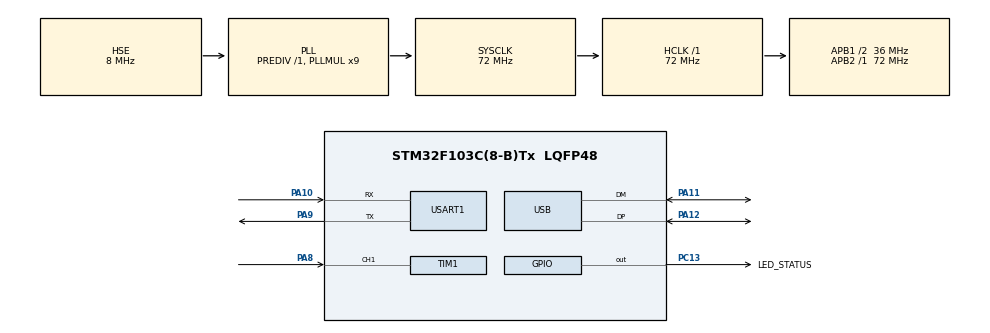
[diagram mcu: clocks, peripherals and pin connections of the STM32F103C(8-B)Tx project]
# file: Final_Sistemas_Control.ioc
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Mcu.Family=STM32F1
Mcu.Name=STM32F103C(8-B)Tx
Mcu.Package=LQFP48
NVIC.PriorityGroup=NVIC_PRIORITYGROUP_4
NVIC.TIM1_CC_IRQn=true\:0\:0\:false\:false\:true\:true\:true\:true
NVIC.USART1_IRQn=true\:0\:0\:false\:false\:true\:true\:true\:true
NVIC.USB_LP_CAN1_RX0_IRQn=true\:0\:0\:false\:false\:true\:true\:true\:true
PA10.Mode=Asynchronous
PA10.Signal=USART1_RX
PA11.Mode=Device
PA11.Signal=USB_DM
PA12.Mode=Device
PA12.Signal=USB_DP
PA13.Mode=Serial_Wire
PA13.Signal=SYS_JTMS-SWDIO
PA14.Mode=Serial_Wire
PA14.Signal=SYS_JTCK-SWCLK
PA8.Signal=S_TIM1_CH1
PA9.Mode=Asynchronous
PA9.Signal=USART1_TX
PC13-TAMPER-RTC.GPIO_Label=LED_STATUS
PC13-TAMPER-RTC.PinState=GPIO_PIN_SET
PC13-TAMPER-RTC.Signal=GPIO_Output
PC14-OSC32_IN.Mode=LSE-External-Oscillator
PC14-OSC32_IN.Signal=RCC_OSC32_IN
PC15-OSC32_OUT.Mode=LSE-External-Oscillator
PC15-OSC32_OUT.Signal=RCC_OSC32_OUT
PD0-OSC_IN.Mode=HSE-External-Oscillator
PD0-OSC_IN.Signal=RCC_OSC_IN
PD1-OSC_OUT.Mode=HSE-External-Oscillator
PD1-OSC_OUT.Signal=RCC_OSC_OUT
ProjectManager.HeapSize=0x200
ProjectManager.StackSize=0x400
ProjectManager.TargetToolchain=STM32CubeIDE
RCC.AHBFreq_Value=72000000
RCC.APB1CLKDivider=RCC_HCLK_DIV2
RCC.APB1Freq_Value=36000000
RCC.APB1TimFreq_Value=72000000
RCC.APB2Freq_Value=72000000
RCC.APB2TimFreq_Value=72000000
RCC.HCLKFreq_Value=72000000
RCC.PLLMUL=RCC_PLL_MUL9
RCC.PLLSourceVirtual=RCC_PLLSOURCE_HSE
RCC.SYSCLKFreq_VALUE=72000000
RCC.SYSCLKSource=RCC_SYSCLKSOURCE_PLLCLK
RCC.USBFreq_Value=48000000
RCC.USBPrescaler=RCC_USBCLKSOURCE_PLL_DIV1_5
SH.S_TIM1_CH1.0=TIM1_CH1,Input_Capture1_from_TI1
TIM1.Channel-Input_Capture1_from_TI1=TIM_CHANNEL_1
TIM1.Period=3
TIM1.Prescaler=8
USART1.VirtualMode=VM_ASYNC
VP_TIM1_VS_ClockSourceINT.Mode=Internal
board=custom

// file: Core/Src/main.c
/* USER CODE BEGIN Header */
/**
  ******************************************************************************
  * @file           : main.c
  * @brief          : Final_Sistemas_Control
  * @brief          : Main program body
  ******************************************************************************
  * @attention
  *
  * Copyright (c) 2024 STMicroelectronics.
  * All rights reserved.
  *
  * This software is licensed under terms that can be found in the LICENSE file
  * in the root directory of this software component.
  * If no LICENSE file comes with this software, it is provided AS-IS.
  *
  ******************************************************************************
  */
/* USER CODE END Header */
#include "main.h"

/* USER CODE BEGIN PTD */
typedef enum{
    START,
    HEADER_1,
    HEADER_2,
    HEADER_3,
    NBYTES,
    TOKEN,
    PAYLOAD
}_eProtocolo;

_eProtocolo estadoProtocolo;

typedef enum{
       ACK=0x0D,
       ALIVE=0xF0,
//       IR_SENSOR=0xA0,
       OTHERS
   }_eID;

typedef struct{
    uint8_t timeOut;         //!< TiemOut para reiniciar la máquina si se interrumpe la comunicación
    uint8_t indexStart; 	 ///////////////////// AGREGAR ///////////////////////////////////
    uint8_t cheksumRx;       //!< Cheksumm RX
    uint8_t cheksumtx;       //!< Cheksumm Tx
    uint8_t indexWriteRx;    //!< Indice de escritura del buffer circular de recepción
    uint8_t indexReadRx;     //!< Indice de lectura del buffer circular de recepción
    uint8_t indexWriteTx;    //!< Indice de escritura del buffer circular de transmisión
    uint8_t indexReadTx;     //!< Indice de lectura del buffer circular de transmisión
    uint8_t bufferRx[256];   //!< Buffer circular de recepción
    uint8_t bufferTx[256];   //!< Buffer circular de transmisión
    // uint8_t payload[32];     //!< Buffer para el Payload de datos recibidos
}_sDato ;

_sDato datosComProtocol;

typedef union {
    int32_t i32;
    uint32_t ui32;
    uint16_t ui16[2];
    uint8_t ui8[4];
}_udat;

_udat myWord;
_udat prueba;
/* USER CODE END PTD */

TIM_HandleTypeDef htim1;

UART_HandleTypeDef huart1;

PCD_HandleTypeDef hpcd_USB_FS;

void SystemClock_Config(void);
static void MX_GPIO_Init(void);
static void MX_TIM1_Init(void);
static void MX_USART1_UART_Init(void);
static void MX_USB_PCD_Init(void);
/* USER CODE BEGIN PFP */
void onDataRx(void);
void decodeProtocol(_sDato *);
void decodeData(_sDato *);
void encodeData(uint8_t id);
void sendData(void);

void USBReceive(uint8_t *but, uint16_t len);
/* USER CODE END PFP */

/* USER CODE BEGIN 0 */
void USBReceive(uint8_t *buf, uint16_t len){
	for (int i = 0; i < len; ++i) {
		datosComProtocol.bufferRx[datosComProtocol.indexWriteRx] = buf[i];
	}
}

void HAL_TIM_IC_CaptureCallback(TIM_HandleTypeDef *htim1){
		if(htim1->Instance == TIM1){
			uint32_t captured_value = HAL_TIM_ReadCapturedValue(htim1, TIM_CHANNEL_1);
			__HAL_TIM_GET_COUNTER(htim1); //Devuelve un valor de 16-bit or 32-bit
		}
}

/*'<' header
//byte1
//byte2
//byte3
//byte4
//checksum = suma de todos los bytes transmitidos
//'>' tail

//  4      1      1    1    N     1
//HEADER NBYTES TOKEN ID PAYLOAD CKS

//HEADER 4 bytes
//'U' 'N' 'E' 'R'

//NBYTES = ID+PAYLOAD+CKS = 2 + nbytes de payload

//TOKEN: ':'

//CKS: xor de todos los bytes enviados menos el CKS
*/
void decodeProtocol(_sDato *datosCom){
	static uint8_t nBytes = 0;
	while (datosCom->indexReadRx != datosCom->indexWriteRx){
		switch (estadoProtocolo){
		case START:
			if (datosCom->bufferRx[datosCom->indexReadRx++]=='U') {
				estadoProtocolo = HEADER_1;
				datosCom->cheksumRx = 0;
			}
			break;
		case HEADER_1:
			if (datosCom->bufferRx[datosCom->indexReadRx++]=='N')
			   {
				   estadoProtocolo=HEADER_2;
			   }
			else{
				datosCom->indexReadRx--;
				estadoProtocolo=START;
			}
			break;
		case HEADER_2:
			if (datosCom->bufferRx[datosCom->indexReadRx++]=='E')
			{
				estadoProtocolo=HEADER_3;
			}
			else{
				datosCom->indexReadRx--;
			   estadoProtocolo=START;
			}
			break;
		case HEADER_3:
			if (datosCom->bufferRx[datosCom->indexReadRx++]=='R')
				{
					estadoProtocolo=NBYTES;
				}
			else{
				datosCom->indexReadRx--;
			   estadoProtocolo=START;
			}
			break;
		case NBYTES:
			datosCom->indexStart=datosCom->indexReadRx;
			nBytes=datosCom->bufferRx[datosCom->indexReadRx++];
			estadoProtocolo=TOKEN;
			break;
		case TOKEN:
			if (datosCom->bufferRx[datosCom->indexReadRx++]==':'){
			   estadoProtocolo=PAYLOAD;
				datosCom->cheksumRx ='U'^'N'^'E'^'R'^ nBytes^':';
				// datosCom->payload[0]=nBytes;
				// indice=1;
			}
			else{
				datosCom->indexReadRx--;
				estadoProtocolo=START;
			}
			break;
		case PAYLOAD:
			if (nBytes>1){
				// datosCom->payload[indice++]=datosCom->bufferRx[datosCom->indexReadRx];
				datosCom->cheksumRx ^= datosCom->bufferRx[datosCom->indexReadRx++];
			}
			nBytes--;
			if(nBytes<=0){
				estadoProtocolo=START;
				if(datosCom->cheksumRx == datosCom->bufferRx[datosCom->indexReadRx]){
					decodeData(datosCom);
				}
			}
			break;
		default:
			estadoProtocolo=START;
			break;
		}
	}
}

void decodeData(_sDato *datosCom){
	#define POSID   2
    #define POSDATA 3

	switch (datosCom->bufferRx[(datosCom->indexStart+POSID)]) {
		case ALIVE:
			encodeData(ALIVE);
			break;
//		case MOTOR_ACTION:
//			datosCom->indexStart++;
//			myWord.ui8[0] = datosCom->bufferRx[datosCom->indexStart++];
//			myWord.ui8[1] = datosCom->bufferRx[datosCom->indexStart++];
//			motor.canal1 = (uint16_t)myWord.ui32;
//
//			myWord.ui8[0] = datosCom->bufferRx[datosCom->indexStart++];
//			myWord.ui8[1] = datosCom->bufferRx[datosCom->indexStart++];
//			motor.canal2 = (uint16_t)myWord.ui32;
//
//			myWord.ui8[0] = datosCom->bufferRx[datosCom->indexStart++];
//			myWord.ui8[1] = datosCom->bufferRx[datosCom->indexStart++];
//			motor.canal3 = (uint16_t)myWord.ui32;
//
//			myWord.ui8[0] = datosCom->bufferRx[datosCom->indexStart++];
//			myWord.ui8[1] = datosCom->bufferRx[datosCom->indexStart++];
//			motor.canal4 = (uint16_t)myWord.ui32;
//
//			encodeData(MOTOR_ACTION);
//			break;

		default:
//			auxBuffTx[indiceAux++]=0xDD;
//			auxBuffTx[NBYTES]=0x02;
			break;
	}
}

void encodeData(uint8_t id){
	uint8_t auxBuffTx[50], indiceAux=0, cheksum;
	auxBuffTx[indiceAux++]='U';
	auxBuffTx[indiceAux++]='N';
	auxBuffTx[indiceAux++]='E';
	auxBuffTx[indiceAux++]='R';
	auxBuffTx[indiceAux++]=0;
	auxBuffTx[indiceAux++]=':';

	switch (id) {
	case ALIVE:
		auxBuffTx[indiceAux++]=ALIVE;
		auxBuffTx[indiceAux++]=ACK;
		auxBuffTx[NBYTES]=0x03;
		break;
//	case IR_SENSOR:
//		auxBuffTx[indiceAux++]=IR_SENSOR;
//		auxBuffTx[NBYTES]=0x12; //decimal= 18
//
//		//myWord.ui32 = ir.sensor1[ir.count];
//		myWord.ui32 = ir.promS0;
//		auxBuffTx[indiceAux++] = myWord.ui8[0];
//		auxBuffTx[indiceAux++] = myWord.ui8[1];
//		break;

		default:
			auxBuffTx[indiceAux++]=0xDD;
			auxBuffTx[NBYTES]=0x02;
			break;
	}
	cheksum=0;
	for(uint8_t a=0 ;a < indiceAux ;a++)
	{
		cheksum ^= auxBuffTx[a];
		datosComProtocol.bufferTx[datosComProtocol.indexWriteTx++]=auxBuffTx[a];
	}
		datosComProtocol.bufferTx[datosComProtocol.indexWriteTx++]=cheksum;
}
/* USER CODE END 0 */

int main(void)
{

  /* MCU Configuration--------------------------------------------------------*/

  /* Reset of all peripherals, Initializes the Flash interface and the Systick. */
  HAL_Init();

  /* Configure the system clock */
  SystemClock_Config();

  /* Initialize all configured peripherals */
  MX_GPIO_Init();
  MX_TIM1_Init();
  MX_USART1_UART_Init();
  MX_USB_PCD_Init();
  /* USER CODE BEGIN 2 */
  CDC_AttachRxData(USBReceive);
  HAL_UART_Receive_IT(&huart1, &datosComProtocol.bufferRx[datosComProtocol.indexWriteRx], 1);

  datosComProtocol.indexWriteRx = 0;		//Init indice recepión del Buffer de Recepción
  datosComProtocol.indexReadRx = 0;			//Init indice de lectura del Buffer de Recepción
  datosComProtocol.indexWriteTx = 0;
  datosComProtocol.indexReadTx = 0;

  /* USER CODE END 2 */

  /* Infinite loop */
  /* USER CODE BEGIN WHILE */

  while (1)
  {
	  HAL_GPIO_TogglePin(LED_STATUS_GPIO_Port, LED_STATUS_Pin);
	  HAL_Delay(1000);

	  if(datosComProtocol.indexReadRx != datosComProtocol.indexWriteRx){
	  		  decodeProtocol(&datosComProtocol);
	  }

	  if(datosComProtocol.indexReadTx != datosComProtocol.indexWriteTx){
		  lengthTx = datosComProtocol.indexWriteTx - datosComProtocol.indexReadTx;
		  if((CDC_Transmit_FS(&datosComProtocol.bufferTx[datosComProtocol.indexReadTx], lengthTx) == USBD_OK))
			  datosComProtocol.indexReadTx++;
	  }
    /* USER CODE END WHILE */

  }
}

void SystemClock_Config(void)
{
  RCC_OscInitTypeDef RCC_OscInitStruct = {0};
  RCC_ClkInitTypeDef RCC_ClkInitStruct = {0};
  RCC_PeriphCLKInitTypeDef PeriphClkInit = {0};

  /** Initializes the RCC Oscillators according to the specified parameters
  * in the RCC_OscInitTypeDef structure.
  */
  RCC_OscInitStruct.OscillatorType = RCC_OSCILLATORTYPE_HSE;
  RCC_OscInitStruct.HSEState = RCC_HSE_ON;
  RCC_OscInitStruct.HSEPredivValue = RCC_HSE_PREDIV_DIV1;
  RCC_OscInitStruct.HSIState = RCC_HSI_ON;
  RCC_OscInitStruct.PLL.PLLState = RCC_PLL_ON;
  RCC_OscInitStruct.PLL.PLLSource = RCC_PLLSOURCE_HSE;
  RCC_OscInitStruct.PLL.PLLMUL = RCC_PLL_MUL9;
  if (HAL_RCC_OscConfig(&RCC_OscInitStruct) != HAL_OK)
  {
    Error_Handler();
  }

  /** Initializes the CPU, AHB and APB buses clocks
  */
  RCC_ClkInitStruct.ClockType = RCC_CLOCKTYPE_HCLK|RCC_CLOCKTYPE_SYSCLK
                              |RCC_CLOCKTYPE_PCLK1|RCC_CLOCKTYPE_PCLK2;
  RCC_ClkInitStruct.SYSCLKSource = RCC_SYSCLKSOURCE_PLLCLK;
  RCC_ClkInitStruct.AHBCLKDivider = RCC_SYSCLK_DIV1;
  RCC_ClkInitStruct.APB1CLKDivider = RCC_HCLK_DIV2;
  RCC_ClkInitStruct.APB2CLKDivider = RCC_HCLK_DIV1;

  if (HAL_RCC_ClockConfig(&RCC_ClkInitStruct, FLASH_LATENCY_2) != HAL_OK)
  {
    Error_Handler();
  }
  PeriphClkInit.PeriphClockSelection = RCC_PERIPHCLK_USB;
  PeriphClkInit.UsbClockSelection = RCC_USBCLKSOURCE_PLL_DIV1_5;
  if (HAL_RCCEx_PeriphCLKConfig(&PeriphClkInit) != HAL_OK)
  {
    Error_Handler();
  }
}

static void MX_TIM1_Init(void)
{

  TIM_ClockConfigTypeDef sClockSourceConfig = {0};
  TIM_MasterConfigTypeDef sMasterConfig = {0};
  TIM_IC_InitTypeDef sConfigIC = {0};

  htim1.Instance = TIM1;
  htim1.Init.Prescaler = 8;
  htim1.Init.CounterMode = TIM_COUNTERMODE_UP;
  htim1.Init.Period = 3;
  htim1.Init.ClockDivision = TIM_CLOCKDIVISION_DIV1;
  htim1.Init.RepetitionCounter = 0;
  htim1.Init.AutoReloadPreload = TIM_AUTORELOAD_PRELOAD_DISABLE;
  if (HAL_TIM_Base_Init(&htim1) != HAL_OK)
  {
    Error_Handler();
  }
  sClockSourceConfig.ClockSource = TIM_CLOCKSOURCE_INTERNAL;
  if (HAL_TIM_ConfigClockSource(&htim1, &sClockSourceConfig) != HAL_OK)
  {
    Error_Handler();
  }
  if (HAL_TIM_IC_Init(&htim1) != HAL_OK)
  {
    Error_Handler();
  }
  sMasterConfig.MasterOutputTrigger = TIM_TRGO_RESET;
  sMasterConfig.MasterSlaveMode = TIM_MASTERSLAVEMODE_DISABLE;
  if (HAL_TIMEx_MasterConfigSynchronization(&htim1, &sMasterConfig) != HAL_OK)
  {
    Error_Handler();
  }
  sConfigIC.ICPolarity = TIM_INPUTCHANNELPOLARITY_RISING;
  sConfigIC.ICSelection = TIM_ICSELECTION_DIRECTTI;
  sConfigIC.ICPrescaler = TIM_ICPSC_DIV1;
  sConfigIC.ICFilter = 0;
  if (HAL_TIM_IC_ConfigChannel(&htim1, &sConfigIC, TIM_CHANNEL_1) != HAL_OK)
  {
    Error_Handler();
  }

}

static void MX_USART1_UART_Init(void)
{

  huart1.Instance = USART1;
  huart1.Init.BaudRate = 115200;
  huart1.Init.WordLength = UART_WORDLENGTH_8B;
  huart1.Init.StopBits = UART_STOPBITS_1;
  huart1.Init.Parity = UART_PARITY_NONE;
  huart1.Init.Mode = UART_MODE_TX_RX;
  huart1.Init.HwFlowCtl = UART_HWCONTROL_NONE;
  huart1.Init.OverSampling = UART_OVERSAMPLING_16;
  if (HAL_UART_Init(&huart1) != HAL_OK)
  {
    Error_Handler();
  }

}

static void MX_USB_PCD_Init(void)
{

  hpcd_USB_FS.Instance = USB;
  hpcd_USB_FS.Init.dev_endpoints = 8;
  hpcd_USB_FS.Init.speed = PCD_SPEED_FULL;
  hpcd_USB_FS.Init.low_power_enable = DISABLE;
  hpcd_USB_FS.Init.lpm_enable = DISABLE;
  hpcd_USB_FS.Init.battery_charging_enable = DISABLE;
  if (HAL_PCD_Init(&hpcd_USB_FS) != HAL_OK)
  {
    Error_Handler();
  }

}

static void MX_GPIO_Init(void)
{
  GPIO_InitTypeDef GPIO_InitStruct = {0};

  /* GPIO Ports Clock Enable */
  __HAL_RCC_GPIOC_CLK_ENABLE();
  __HAL_RCC_GPIOD_CLK_ENABLE();
  __HAL_RCC_GPIOA_CLK_ENABLE();

  /*Configure GPIO pin Output Level */
  HAL_GPIO_WritePin(LED_STATUS_GPIO_Port, LED_STATUS_Pin, GPIO_PIN_SET);

  /*Configure GPIO pin : LED_STATUS_Pin */
  GPIO_InitStruct.Pin = LED_STATUS_Pin;
  GPIO_InitStruct.Mode = GPIO_MODE_OUTPUT_PP;
  GPIO_InitStruct.Pull = GPIO_NOPULL;
  GPIO_InitStruct.Speed = GPIO_SPEED_FREQ_LOW;
  HAL_GPIO_Init(LED_STATUS_GPIO_Port, &GPIO_InitStruct);

}

void Error_Handler(void)
{
  __disable_irq();
  while (1)
  {
  }
}
